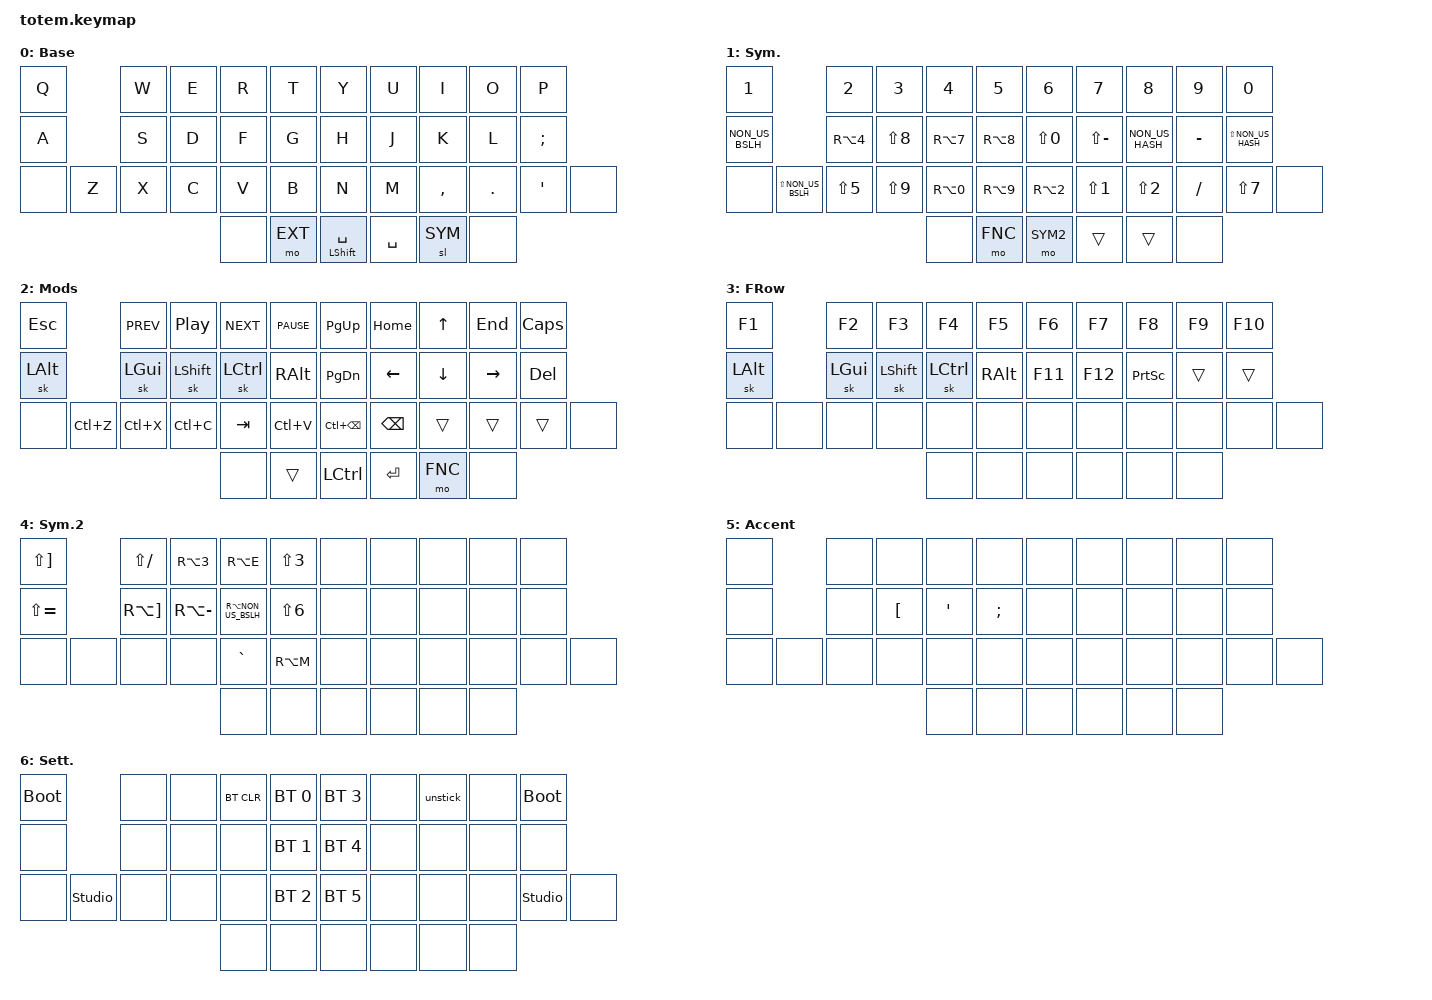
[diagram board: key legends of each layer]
/*
 * Copyright (c) 2025 010011010100000101010011
 * My personal Finnish layout for the Totem keyboard, based on my Urchin layout.
 *
 * SPDX-License-Identifier: MIT
 */

#include <behaviors.dtsi>
#include <dt-bindings/zmk/keys.h>
#include <dt-bindings/zmk/bt.h>
#include <dt-bindings/zmk/outputs.h>

// Layer definitions
#define BASE 0
#define SYM 1
#define EXT 2
#define FNC 3
#define SYM2 4
#define ACCENT 5
#define SETTINGS 6
// -----------------

&sk {
	// don't release mods on other mods presses
	ignore-modifiers;
};


/ {
	behaviors {
		// Enables holding the first mod-tap key
		// by performing a tap-release-hold sequence.
		// To use it: "&qt KEYCODE1 KEYCODE2"
		qt: quick_tap {
			compatible = "zmk,behavior-hold-tap";
			label = "QUICK_TAP";
			#binding-cells = <2>;
			flavor = "tap-preferred";
			tapping-term-ms = <250>;
			quick-tap-ms = <250>;
			bindings = <&kp>, <&kp>;
		};
	};

	macros {
		// kept because duckyb's device sometimes thinks a modifier is being held down
		// pressing all modifiers fixes it in case it happens to us.
		unstick: unstick {
			label = "ZM_unstick";
			compatible = "zmk,behavior-macro";
			#binding-cells = <0>;
			bindings = <&kp LSHIFT &kp RSHIFT &kp LCTRL &kp RCTRL &kp LALT &kp RALT &kp LGUI &kp RGUI>;
		};
	};

	combos {
		compatible = "zmk,combos";
		// both right thumb keys
		combo_accent {
			timeout-ms = <200>;
			key-positions = <36 37>;
			bindings = <&mo ACCENT>;
		};
		// internal-left & external-right thumb keys
		combo_sym2 {
			timeout-ms = <200>;
			key-positions = <34 37>;
			bindings = <&mo SYM2>;
		};
		// both left thumb keys
		combo_settings {
			timeout-ms = <200>;
			key-positions = <34 35>;
			bindings = <&mo SETTINGS>;
		};
		// left index & middle fingers (home-row)
		// testing space as a homerow combo
		combo_ctrl_space {
			timeout-ms = <200>;
			key-positions = <12 13>;
			bindings = <&kp SPACE>;
			layers = <BASE>;
		};
	};

	keymap {
		compatible = "zmk,keymap";
		// Base alpha layer
		default_layer {
			label = "Base";
			//             ┏━━━━━━━━━━━┳━━━━━━━━━━━┳━━━━━━━━━━━┳━━━━━━━━━━━┳━━━━━━━━━━━┓   ┏━━━━━━━━━━━┳━━━━━━━━━━━┳━━━━━━━━━━━┳━━━━━━━━━━━┳━━━━━━━━━━━┓
			//             ┃     Q     ┃     W     ┃     E     ┃     R     ┃     T     ┃   ┃     Y     ┃     U     ┃     I     ┃     O     ┃     P     ┃
			//             ┣━━━━━━━━━━━╋━━━━━━━━━━━╋━━━━━━━━━━━╋━━━━━━━━━━━╋━━━━━━━━━━━┫   ┣━━━━━━━━━━━╋━━━━━━━━━━━╋━━━━━━━━━━━╋━━━━━━━━━━━╋━━━━━━━━━━━┫
			//             ┃     A     ┃     S     ┃     D     ┃     F     ┃     G     ┃   ┃     H     ┃     J     ┃     K     ┃     L     ┃     Ä     ┃
			// ┏━━━━━━━━━━━╋━━━━━━━━━━━╋━━━━━━━━━━━╋━━━━━━━━━━━╋━━━━━━━━━━━╋━━━━━━━━━━━┫   ┣━━━━━━━━━━━╋━━━━━━━━━━━╋━━━━━━━━━━━╋━━━━━━━━━━━╋━━━━━━━━━━━╋━━━━━━━━━━━┓
			// ┃           ┃     Z     ┃     X     ┃     C     ┃     V     ┃     B     ┃   ┃     N     ┃     M     ┃     ,     ┃     .     ┃     Ö     ┃           ┃
			// ┗━━━━━━━━━━━┻━━━━━━━━━━━┻━━━━━━━━━━━╋━━━━━━━━━━━╋━━━━━━━━━━━╋━━━━━━━━━━━┫   ┣━━━━━━━━━━━╋━━━━━━━━━━━╋━━━━━━━━━━━╋━━━━━━━━━━━┻━━━━━━━━━━━┻━━━━━━━━━━━┛
			//                                     ┃           ┃     EXT   ┃    SPC    ┃   ┃   ENTER   ┃    SYM    ┃           ┃
			//                                     ┗━━━━━━━━━━━┻━━━━━━━━━━━┻━━━━━━━━━━━┛   ┗━━━━━━━━━━━┻━━━━━━━━━━━┻━━━━━━━━━━━┛
			bindings = <
			// ╷           ╷           ╷           ╷           ╷           ╷           ╷   ╷           ╷           ╷           ╷           ╷           ╷           ╷
			           	&kp Q	    &kp W       &kp E       &kp R       &kp T           &kp Y       &kp U       &kp I       &kp O       &kp P
			     	   	&kp A	    &kp S       &kp D       &kp F       &kp G           &kp H       &kp J       &kp K       &kp L       &kp SEMI
			     		&none &kp Z &kp X       &kp C       &kp V       &kp B           &kp N       &kp M       &kp COMMA   &kp DOT     &kp SQT     &none
                                        	    		&none	    &mo EXT     &qt LSHIFT SPACE &kp SPACE  &sl SYM     &none
			>;
		};

		// Numbers and high frequency symbols
		sym_layer {
			label = "Sym.";
			//             ┏━━━━━━━━━━━┳━━━━━━━━━━━┳━━━━━━━━━━━┳━━━━━━━━━━━┳━━━━━━━━━━━┓   ┏━━━━━━━━━━━┳━━━━━━━━━━━┳━━━━━━━━━━━┳━━━━━━━━━━━┳━━━━━━━━━━━┓
			//             ┃     1     ┃     2     ┃     3     ┃     4     ┃     5     ┃   ┃     6     ┃     7     ┃     8     ┃     9     ┃     0     ┃
			//             ┣━━━━━━━━━━━╋━━━━━━━━━━━╋━━━━━━━━━━━╋━━━━━━━━━━━╋━━━━━━━━━━━┫   ┣━━━━━━━━━━━╋━━━━━━━━━━━╋━━━━━━━━━━━╋━━━━━━━━━━━╋━━━━━━━━━━━┫
			//             ┃     <     ┃     $     ┃     (     ┃     {     ┃     [     ┃   ┃     =     ┃     ?     ┃     '     ┃     -     ┃     *     ┃
			// ┏━━━━━━━━━━━╋━━━━━━━━━━━╋━━━━━━━━━━━╋━━━━━━━━━━━╋━━━━━━━━━━━╋━━━━━━━━━━━┫   ┣━━━━━━━━━━━╋━━━━━━━━━━━╋━━━━━━━━━━━╋━━━━━━━━━━━╋━━━━━━━━━━━╋━━━━━━━━━━━┓
			// ┃           ┃     >     ┃     %     ┃     )     ┃     }     ┃     ]     ┃   ┃     @     ┃     !     ┃     "     ┃     +     ┃     /     ┃           ┃
			// ┗━━━━━━━━━━━┻━━━━━━━━━━━┻━━━━━━━━━━━╋━━━━━━━━━━━╋━━━━━━━━━━━╋━━━━━━━━━━━┫   ┣━━━━━━━━━━━╋━━━━━━━━━━━╋━━━━━━━━━━━╋━━━━━━━━━━━┻━━━━━━━━━━━┻━━━━━━━━━━━┛
			//                                     ┃           ┃     EXT   ┃    SPC    ┃   ┃   ENTER   ┃    SYM    ┃           ┃
			//                                     ┗━━━━━━━━━━━┻━━━━━━━━━━━┻━━━━━━━━━━━┛   ┗━━━━━━━━━━━┻━━━━━━━━━━━┻━━━━━━━━━━━┛
			bindings = <
			// ╷           ╷           ╷           ╷           ╷           ╷           ╷   ╷           ╷           ╷           ╷           ╷           ╷           ╷
			    		&kp N1      &kp N2      &kp N3      &kp N4      &kp N5		&kp N6      &kp N7      &kp N8      &kp N9      &kp N0
			    		&kp NON_US_BSLH  &kp RA(N4) &kp LS(N8) &kp RA(N7) &kp RA(N8)  &kp LS(N0) &kp LS(MINUS) &kp NON_US_HASH &kp MINUS &kp LS(NON_US_HASH)
					&none &kp LS(NON_US_BSLH) &kp LS(N5) &kp LS(N9) &kp RA(N0) &kp RA(N9) &kp RA(N2) &kp LS(N1) &kp LS(N2) &kp FSLH &kp LS(N7) &none
					     &none   &mo FNC     &mo SYM2           &trans    &trans     &none
			>;
		};

		// Main modifiers and arrow keys
		ext_layer {
			label = "Mods";
			//             ┏━━━━━━━━━━━┳━━━━━━━━━━━┳━━━━━━━━━━━┳━━━━━━━━━━━┳━━━━━━━━━━━┓   ┏━━━━━━━━━━━┳━━━━━━━━━━━┳━━━━━━━━━━━┳━━━━━━━━━━━┳━━━━━━━━━━━┓
			//             ┃    ESC    ┃ Previous  ┃Play/Pause ┃   Next    ┃  Pause    ┃   ┃ PageUp    ┃   Home    ┃  UpArrow  ┃    End    ┃ Capslock  ┃
			//             ┣━━━━━━━━━━━╋━━━━━━━━━━━╋━━━━━━━━━━━╋━━━━━━━━━━━╋━━━━━━━━━━━┫   ┣━━━━━━━━━━━╋━━━━━━━━━━━╋━━━━━━━━━━━╋━━━━━━━━━━━╋━━━━━━━━━━━┫
			//             ┃ LeftAlt   ┃ Left Meta ┃ LeftShift ┃  LeftCtrl ┃ RightAlt  ┃   ┃ PageDown  ┃ LeftArrow ┃ DownArrow ┃ RightArrow┃    Del    ┃
			// ┏━━━━━━━━━━━╋━━━━━━━━━━━╋━━━━━━━━━━━╋━━━━━━━━━━━╋━━━━━━━━━━━╋━━━━━━━━━━━┫   ┣━━━━━━━━━━━╋━━━━━━━━━━━╋━━━━━━━━━━━╋━━━━━━━━━━━╋━━━━━━━━━━━╋━━━━━━━━━━━┓
			// ┃           ┃    Undo   ┃    Cut    ┃    Copy   ┃    TAB    ┃   Paste   ┃   ┃  DelWord  ┃ Backspace ┃           ┃           ┃           ┃           ┃
			// ┗━━━━━━━━━━━┻━━━━━━━━━━━┻━━━━━━━━━━━╋━━━━━━━━━━━╋━━━━━━━━━━━╋━━━━━━━━━━━┫   ┣━━━━━━━━━━━╋━━━━━━━━━━━╋━━━━━━━━━━━╋━━━━━━━━━━━┻━━━━━━━━━━━┻━━━━━━━━━━━┛
			//                                     ┃           ┃   trans   ┃    SPC    ┃   ┃   ENTER   ┃    FNC    ┃           ┃
			//                                     ┗━━━━━━━━━━━┻━━━━━━━━━━━┻━━━━━━━━━━━┛   ┗━━━━━━━━━━━┻━━━━━━━━━━━┻━━━━━━━━━━━┛
			bindings = <
			// ╷           ╷           ╷           ╷           ╷           ╷           ╷   ╷           ╷           ╷           ╷           ╷           ╷           ╷
			    		&kp ESC     &kp C_PREV  &kp C_PP    &kp C_NEXT  &kp C_PAUSE     &kp PG_UP   &kp HOME    &kp UP      &kp END     &kp CAPS
			    		&sk LALT    &sk LGUI    &sk LSHIFT  &sk LCTRL   &kp RALT 	&kp PG_DN   &kp LEFT    &kp DOWN    &kp RIGHT   &kp DEL
			  &none 	&kp LC(Z)   &kp LC(X)   &kp LC(C)   &kp TAB     &kp LC(V)       &kp LC(BSPC) &kp BSPC   &trans      &trans      &trans 	    &none
						    &none       &trans      &kp LCTRL      		&kp ENTER   &mo FNC     &none
			>;
		};

		// Function keys with modifiers
		fnc_layer {
			label = "FRow";
			bindings = <
			//╭─────────┬─────────┬─────────┬─────────┬─────────╮   ╭─────────┬─────────┬─────────┬─────────┬─────────╮
        		//│    F1   │    F2   │    F3   │   F4    │    F5   │   │    F6   │    F7   │    F8   │    F9   │   F10   │
			     &kp F1    &kp F2    &kp F3    &kp F4    &kp F5       &kp F6     &kp F7    &kp F8   &kp F9    &kp F10 
			//├─────────┼─────────┼─────────┼─────────┼─────────┤   ├─────────┼─────────┼─────────┼─────────┼─────────┤
       			//│ LeftAlt │Left Meta│LeftShift│ LeftCtrl│ RightAlt│   │   F11   │   F12   │PrintScrn│         │         │
			   &sk LALT   &sk LGUI &sk LSHIFT &sk LCTRL &kp RALT     &kp F11 &kp F12  &kp PRINTSCREEN &trans   &trans
			//├─────────┼─────────┼─────────┼─────────┼─────────┤   ├─────────┼─────────┼─────────┼─────────┼─────────┤
       			//│         │         │         │         │         │   │         │         │         │         │         │
			    &none &none     &none     &none     &none     &none	   &none     &none     &none     &none     &none &none
			//╰─────────┴─────────┴─────────┼─────────┼─────────┤   ├──────────┼────────┼─────────┴─────────┴─────────╯
						       &none  &none      &none         &none     &none    &none
			//                     ╰───────┴─────────┴──────────╯   ╰──────────┴────────┴────────╯
			>;
		};

		// Low frequency symbols.
		symbols_2_layer {
			label = "Sym.2";
			bindings = <
			//╭─────────┬─────────┬─────────┬─────────┬─────────╮   ╭─────────┬─────────┬─────────┬─────────┬─────────╮
        		//│    ^    │    _    │    £    │    €    │    #    │   │         │         │         │         │         │
			&kp LS(RBKT) &kp LS(FSLH) &kp RA(N3) &kp RA(E) &kp LS(N3) &none      &none     &none     &none     &none 
			//├─────────┼─────────┼─────────┼─────────┼─────────┤   ├─────────┼─────────┼─────────┼─────────┼─────────┤
       			//│    `    │    ~    │Backslash│    |    │    &    │   │         │         │         │         │         │
			&kp LS(EQUAL) &kp RA(RBKT) &kp RA(MINUS) &kp RA(NON_US_BSLH) &kp LS(N6)  &none &none &none &none &none
			//├─────────┼─────────┼─────────┼─────────┼─────────┤   ├─────────┼─────────┼─────────┼─────────┼─────────┤
       			//│         │         │         │    §    │    µ    │   │         │         │         │         │         │
			   &none  &none     &none     &none  &kp GRAVE  &kp RA(M)       &none     &none     &none     &none     &none &none
			//╰─────────┴─────────┴─────────┼─────────┼─────────┤   ├──────────┼────────┼─────────┴─────────┴─────────╯
					       &none       &none     &none         &none     &none       &none
			//               ╰────────┴────────┴────────────────╯   ╰──────────┴────────┴────────╯
			>;
		};

		// Used to type regional accents.
		accent_layer {
			label = "Accent";
			bindings = <
			//╭─────────┬─────────┬─────────┬─────────┬─────────╮   ╭─────────┬─────────┬─────────┬─────────┬─────────╮
        		//│         │         │         │         │         │   │         │         │         │         │         │
			     &none     &none     &none     &none     &none         &none     &none     &none     &none     &none 
			//├─────────┼─────────┼─────────┼─────────┼─────────┤   ├─────────┼─────────┼─────────┼─────────┼─────────┤
       			//│         │         │    Å    │    Ä    │    Ö    │   │         │         │         │         │         │
			     &none     &none   &kp LBKT   &kp APOS &kp SEMI        &none      &none    &none     &none     &none
			//├─────────┼─────────┼─────────┼─────────┼─────────┤   ├─────────┼─────────┼─────────┼─────────┼─────────┤
       			//│         │         │         │         │         │   │         │         │         │         │         │
			  &none   &none     &none     &none     &none     &none         &none     &none     &none     &none     &none &none
			//╰─────────┴─────────┴─────────┼─────────┼─────────┤   ├──────────┼────────┼─────────┴─────────┴─────────╯
						 &none  &none     &none                &none     &none    &none
			//               ╰────────┴────────┴────────────────╯   ╰──────────┴────────┴────────╯
			>;
		};

		// Used to change the keyboard's settings.
		settings_layer {
			label = "Sett.";
			bindings = <
			//╭──────────┬──────────┬──────────┬──────────┬──────────╮   ╭──────────┬──────────┬──────────┬──────────┬──────────╮
        		//│BOOTLOADER│          │          │ CLEAR BT │PROFILE 0 │   │PROFILE 3 │          │ Unstick  │          │BOOTLOADER│
			   &bootloader   &none      &none   &bt BT_CLR &bt BT_SEL 0   &bt BT_SEL 3  &none    &unstick    &none    &bootloader 
			//├──────────┼──────────┼──────────┼──────────┼──────────┤   ├──────────┼──────────┼──────────┼──────────┼──────────┤
        		//│          │          │          │          │PROFILE 1 │   │PROFILE 4 │          │          │          │          │
			     &none      &none      &none      &none  &bt BT_SEL 1    &bt BT_SEL 4  &none      &none      &none     &none
			//├──────────┼──────────┼──────────┼──────────┼──────────┤   ├──────────┼──────────┼──────────┼──────────┼──────────┤
       			//│ ZMKStudio│          │          │          │PROFILE 2 │   │PROFILE 5 │          │          │          │ZMKStudio │
			 &none &studio_unlock  &none      &none      &none  &bt BT_SEL 2    &bt BT_SEL 5  &none      &none      &none  &studio_unlock &none
			//╰──────────┴──────────┴──────────┼──────────┼──────────┤   ├──────────┼──────────┼──────────┴──────────┴──────────╯
						  &none       &none      &none             &none       &none   &none
			//                    ╰────────┴────────┴────────────────╯   ╰──────────┴────────┴────────╯
			>;
		};
	};
};
